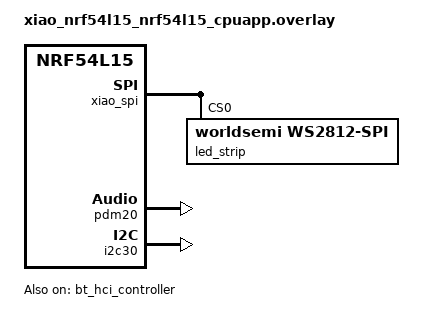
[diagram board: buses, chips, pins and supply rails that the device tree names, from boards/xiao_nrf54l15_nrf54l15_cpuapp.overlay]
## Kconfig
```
# Copyright (c) 2019 Nordic Semiconductor ASA
# SPDX-License-Identifier: Apache-2.0

menu "LED Matrix Configuration"

config MATRIX_WIDTH
	int "Matrix width (number of columns)"
	default 8
	help
	  Width of the LED matrix in pixels.

config MATRIX_HEIGHT
	int "Matrix height (number of rows)"
	default 6
	help
	  Height of the LED matrix in pixels.

config SAMPLE_LED_UPDATE_DELAY
	int "Delay between frame updates in ms"
	default 50
	help
	  Delay between frame updates in ms.

config SAMPLE_LED_BRIGHTNESS
	int "LED brightness"
	default 105
	range 1 105
	help
	  Brightness level of each LED. Maximum 105 is safe for 5 matrices
	  at 1.5A power budget (1435mA total). Higher values may exceed USB
	  power limits.

endmenu

source "Kconfig.zephyr"
```

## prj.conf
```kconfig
CONFIG_LOG=y
CONFIG_LED_STRIP=y
CONFIG_LED_STRIP_LOG_LEVEL_DBG=y

# Enable UART console
CONFIG_CONSOLE=y
CONFIG_UART_CONSOLE=y
CONFIG_PRINTK=y

# Enable I2C for IMU
CONFIG_I2C=y
CONFIG_GPIO=y

# Enable random number generator for animations
CONFIG_ENTROPY_GENERATOR=y

# Enable float printf
CONFIG_NEWLIB_LIBC=y
CONFIG_NEWLIB_LIBC_FLOAT_PRINTF=y

# Enable FPU for floating point math operations
CONFIG_FPU=y
CONFIG_FPU_SHARING=y

# Audio/DMIC support for visualizer
CONFIG_AUDIO=y
CONFIG_AUDIO_DMIC=y

# DSP/FFT support for audio processing
CONFIG_CMSIS_DSP=y
CONFIG_CMSIS_DSP_TRANSFORM=y

# Increase resources for audio processing (match xiao_expanded)
CONFIG_MAIN_STACK_SIZE=8192
CONFIG_HEAP_MEM_POOL_SIZE=32768
```

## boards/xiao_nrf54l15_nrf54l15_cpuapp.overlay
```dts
/*
 * Copyright (c) 2024 Nordic Semiconductor ASA
 *
 * SPDX-License-Identifier: Apache-2.0
 */

#include <zephyr/dt-bindings/led/led.h>
#include "../nrf54l15-bindings.h"

&xiao_spi {
	compatible = "nordic,nrf-spim";
	led_strip: ws2812@0 {
		compatible = "worldsemi,ws2812-spi";
		/* WS2812 LED strip configuration for 8x6 matrix (48 LEDs) */
		reg = <0>;                  /* P2.08 (D6/TX on XIAO nRF54L15) */
		spi-max-frequency = <SPI_FREQ>;

		/* 8x6 = 48 LEDs per matrix, 5 matrices = 240 LEDs total in raster format */
		chain-length = <240>;
		color-mapping = <LED_COLOR_ID_GREEN
				 LED_COLOR_ID_RED
				 LED_COLOR_ID_BLUE>;
		spi-one-frame = <ONE_FRAME>;
		spi-zero-frame = <ZERO_FRAME>;
	};
};

/ {
	aliases { 
		led-strip = &led_strip;
	};

	chosen {
		zephyr,bt-hci = &bt_hci_controller;
		zephyr,console = &uart20;
		nordic,rpc-uart = &uart20;
	};
};

&pdm20 {
	status = "okay";
};

dmic_dev: &pdm20 {};

&i2c30 {
	status = "okay";
	// IMU is already defined in board DTS, just enable the bus
};

&uart21 {
	status = "disabled";
};

&bt_hci_controller {
	status = "okay";
};
```

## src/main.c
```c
/*
 * Copyright (c) 2017 Linaro Limited
 * Copyright (c) 2018 Intel Corporation
 * Copyright (c) 2024 TOKITA Hiroshi
 * Copyright (c) 2025 LED Matrix Adaptation
 *
 * SPDX-License-Identifier: Apache-2.0
 */

#include <errno.h>
#include <string.h>
#include <math.h>
#include <stdio.h>

#define LOG_LEVEL 4
#include <zephyr/logging/log.h>
LOG_MODULE_REGISTER(main, LOG_LEVEL_INF);

#include <zephyr/kernel.h>
#include <zephyr/drivers/led_strip.h>
#include <zephyr/device.h>
#include <zephyr/drivers/spi.h>
#include <zephyr/drivers/gpio.h>
#include <zephyr/drivers/i2c.h>
#include <zephyr/sys/util.h>
#include <hal/nrf_comp.h>

#include "font_5x5.h"
#include "water_physics.h"
#include "audio_viz.h"
#include "animations.h"


#define STRIP_NODE		DT_ALIAS(led_strip)

#if DT_NODE_HAS_PROP(DT_ALIAS(led_strip), chain_length)
#define STRIP_NUM_PIXELS	DT_PROP(DT_ALIAS(led_strip), chain_length)
#else
#error Unable to determine length of LED strip
#endif

// Matrix dimensions from Kconfig
#define MATRIX_WIDTH	40  // 5 matrices × 8 pixels wide
#define MATRIX_HEIGHT	6
#define MATRIX_SIZE	(MATRIX_WIDTH * MATRIX_HEIGHT)

#if STRIP_NUM_PIXELS != MATRIX_SIZE
#error "LED strip chain length must match matrix size (WIDTH * HEIGHT)"
#endif

#define DELAY_TIME K_MSEC(CONFIG_SAMPLE_LED_UPDATE_DELAY)

#define RGB(_r, _g, _b) { .r = (_r), .g = (_g), .b = (_b) }

// LSM6DSO I2C definitions
#define LSM6DSO_I2C_ADDR    0x6A
#define LSM6DSO_REG_WHO_AM_I 0x0F
#define LSM6DSO_WHO_AM_I_VAL 0x6A
#define LSM6DSO_REG_CTRL1_XL 0x10
#define LSM6DSO_REG_CTRL2_G  0x11
#define LSM6DSO_REG_OUTX_L_XL 0x28

static struct led_rgb pixels[STRIP_NUM_PIXELS];
static const struct device *const strip = DEVICE_DT_GET(STRIP_NODE);
static const struct device *i2c_dev;

// Tilt state for liquid simulation
static float tilt_x = 0.0f;  // Roll (left/right)
static float tilt_y = 0.0f;  // Pitch (forward/backward)
static bool imu_available = false;

// Animation mode state
static bool animation_mode = false;  // false = water sim, true = audio/IMU animations
static uint32_t last_frame_time = 0;

// Button state for animation control
static bool button_pressed = false;

// Button device for animation control
static const struct gpio_dt_spec button = GPIO_DT_SPEC_GET(DT_ALIAS(sw0), gpios);

/**
 * @brief Convert x,y matrix coordinates to linear pixel index
 * Each of 5 matrices is 8×6 pixels (48 LEDs) in its own raster format
 * Matrices are chained: Matrix 0 (pixels 0-47), Matrix 1 (48-95), etc.
 * @param x Column (0 to MATRIX_WIDTH-1, spans 5 matrices of 8 pixels each)
 * @param y Row (0 to MATRIX_HEIGHT-1, same for all matrices)
 * @return Linear index for the chained LED strip
 */
static inline size_t xy_to_index(int x, int y)
{
	if (x < 0 || x >= MATRIX_WIDTH || y < 0 || y >= MATRIX_HEIGHT) {
		return MATRIX_SIZE; // Out of bounds
	}
	
	// Determine which 8×6 matrix this pixel belongs to
	int matrix_num = x / 8;      // Which matrix (0-4)
	int local_x = x % 8;         // X position within that matrix (0-7)
	int local_y = y;             // Y position (0-5, same for all matrices)
	
	// Each matrix has 48 LEDs in raster format (row 0: 0-7, row 1: 8-15, etc.)
	int matrix_offset = matrix_num * 48;
	int pixel_in_matrix = local_y * 8 + local_x;
	
	return matrix_offset + pixel_in_matrix;
}

/**
 * @brief Set a single pixel in the matrix
 * @param x Column position
 * @param y Row position
 * @param color RGB color value
 */
static void set_pixel(int x, int y, struct led_rgb color)
{
	size_t idx = xy_to_index(x, y);
	if (idx < MATRIX_SIZE) {
		memcpy(&pixels[idx], &color, sizeof(struct led_rgb));
	}
}

/**
 * @brief Clear all pixels (set to black)
 */
static void clear_matrix(void)
{
	memset(pixels, 0, sizeof(pixels));
}

/**
 * @brief Fill entire matrix with one color
 */
static void fill_matrix(struct led_rgb color)
{
	for (size_t i = 0; i < MATRIX_SIZE; i++) {
		memcpy(&pixels[i], &color, sizeof(struct led_rgb));
	}
}

/**
 * @brief Draw a horizontal line
 */
static void draw_hline(int x, int y, int width, struct led_rgb color)
{
	for (int i = 0; i < width; i++) {
		set_pixel(x + i, y, color);
	}
}

/**
 * @brief Draw a vertical line
 */
static void draw_vline(int x, int y, int height, struct led_rgb color)
{
	for (int i = 0; i < height; i++) {
		set_pixel(x, y + i, color);
	}
}

/**
 * @brief Draw a rectangle outline
 */
__attribute__((unused))
static void draw_rect(int x, int y, int w, int h, struct led_rgb color)
{
	draw_hline(x, y, w, color);
	draw_hline(x, y + h - 1, w, color);
	draw_vline(x, y, h, color);
	draw_vline(x + w - 1, y, h, color);
}

/**
 * @brief Fill a rectangle
 */
__attribute__((unused))
static void fill_rect(int x, int y, int w, int h, struct led_rgb color)
{
	for (int row = 0; row < h; row++) {
		draw_hline(x, y + row, w, color);
	}
}

/**
 * @brief Update the physical LED strip from the pixel buffer
 */
static int update_display(void)
{
	return led_strip_update_rgb(strip, pixels, STRIP_NUM_PIXELS);
}

/**
 * @brief Initialize LSM6DSO via I2C
 */
static int lsm6dso_init(void)
{
	uint8_t who_am_i = 0;
	int ret;

	// Verify device ID
	ret = i2c_reg_read_byte(i2c_dev, LSM6DSO_I2C_ADDR, LSM6DSO_REG_WHO_AM_I, &who_am_i);
	if (ret != 0) {
		LOG_ERR("Failed to read WHO_AM_I (err: %d)", ret);
		return ret;
	}
	if (who_am_i != LSM6DSO_WHO_AM_I_VAL) {
		LOG_ERR("Invalid WHO_AM_I: 0x%02x", who_am_i);
		return -ENODEV;
	}
	LOG_INF("LSM6DSO found, ID: 0x%02x", who_am_i);

	// Set accelerometer ODR (12.5 Hz) and 2g range
	uint8_t tx_buf[2] = {LSM6DSO_REG_CTRL1_XL, 0x20};
	ret = i2c_write(i2c_dev, tx_buf, 2, LSM6DSO_I2C_ADDR);
	if (ret != 0) {
		LOG_ERR("Failed to set CTRL1_XL (err: %d)", ret);
		return ret;
	}

	// Set gyroscope ODR (12.5 Hz) and 250dps range
	tx_buf[0] = LSM6DSO_REG_CTRL2_G;
	tx_buf[1] = 0x20;
	ret = i2c_write(i2c_dev, tx_buf, 2, LSM6DSO_I2C_ADDR);
	if (ret != 0) {
		LOG_ERR("Failed to set CTRL2_G (err: %d)", ret);
		return ret;
	}

	LOG_INF("LSM6DSO initialized");
	return 0;
}

/**
 * @brief Read IMU and calculate tilt angles
 */
static int read_imu(void)
{
	uint8_t accel_data[6];
	int ret;

	if (!imu_available) {
		return -ENODEV;
	}

	// Read accelerometer data (6 bytes)
	ret = i2c_burst_read(i2c_dev, LSM6DSO_I2C_ADDR, LSM6DSO_REG_OUTX_L_XL, accel_data, 6);
	if (ret != 0) {
		return ret;
	}

	// Convert raw data to signed integers (low byte first)
	int16_t raw_x = (int16_t)(accel_data[0] | (accel_data[1] << 8));
	int16_t raw_y = (int16_t)(accel_data[2] | (accel_data[3] << 8));
	int16_t raw_z = (int16_t)(accel_data[4] | (accel_data[5] << 8));

	// Convert to g (assuming ±2g range, sensitivity ~0.061 mg/LSB)
	float acc_x = raw_x * 0.000061f * 9.81f; // Convert to m/s²
	float acc_y = raw_y * 0.000061f * 9.81f;
	float acc_z = raw_z * 0.000061f * 9.81f;

	// Calculate tilt angles (in degrees)
	tilt_x = atan2f(acc_x, acc_z) * 180.0f / 3.14159f;
	tilt_y = atan2f(acc_y, acc_z) * 180.0f / 3.14159f;

	return 0;
}

/**
 * @brief Initialize button for animation control
 */
static int init_button(void)
{
	if (!gpio_is_ready_dt(&button)) {
		LOG_ERR("Button device not ready");
		return -ENODEV;
	}

	int ret = gpio_pin_configure_dt(&button, GPIO_INPUT);
	if (ret != 0) {
		LOG_ERR("Failed to configure button: %d", ret);
		return ret;
	}

	LOG_INF("Button initialized for animation control");
	return 0;
}

/**
 * @brief Check button state and handle animation cycling
 */
static void check_button(void)
{
	bool current_state = gpio_pin_get_dt(&button);
	
	// Button pressed (active low)
	if (!current_state && !button_pressed) {
		button_pressed = true;
		
		// Cycle to next animation
		if (animation_mode) {
			animations_next_mode();
			LOG_INF("Animation: %s", 
				animations_get_mode_name(animations_get_mode()));
		}
	} else if (current_state) {
		button_pressed = false;
	}
}

/**
 * @brief Draw a character at position using 5x5 font
 */
static void draw_char(int x, int y, char c, struct led_rgb color)
{
	// Convert lowercase to uppercase
	if (c >= 'a' && c <= 'z') {
		c = c - 'a' + 'A';
	}
	
	// Check if character is in our font range (space to 'Z')
	if (c < ' ' || c > 'Z') {
		c = ' '; // Default to space for unsupported chars
	}
	
	const uint8_t *glyph = font_5x5[c - ' '];
	
	for (int row = 0; row < 5; row++) {
		for (int col = 0; col < 5; col++) {
			if (glyph[row] & (1 << (4 - col))) {
				set_pixel(x + col, y + row, color);
			}
		}
	}
}

/**
 * @brief Draw a string with 6x5 character cells (5px char + 1px space)
 */
static void draw_string(int x, int y, const char *str, struct led_rgb color)
{
	int cursor_x = x;
	while (*str) {
		draw_char(cursor_x, y, *str, color);
		cursor_x += 6; // 5 pixels for char + 1 pixel spacing
		str++;
	}
}

/**
 * @brief Get pixel width of a string
 */
__attribute__((unused))
static int string_width(const char *str)
{
	int len = 0;
	while (*str++) len++;
	if (len == 0) return 0;
	return len * 6 - 1; // 6 pixels per char, minus last space
}

/**
 * @brief Demo: Scrolling text
 */
__attribute__((unused))
static void demo_scrolling_text(int offset, const char *text, struct led_rgb color)
{
	clear_matrix();
	int x = MATRIX_WIDTH - offset;
	
	// Draw text centered vertically
	draw_string(x, 1, text, color);
}

/**
 * @brief Render liquid on LED matrix using water_physics module
 */
static void render_liquid(struct led_rgb color)
{
	clear_matrix();
	
	for (int y = 0; y < MATRIX_HEIGHT; y++) {
		for (int x = 0; x < MATRIX_WIDTH; x++) {
			if (water_physics_get_cell(x, y) == 1) {
				set_pixel(x, y, color);
			}
		}
	}
}

int main(void)
{
	int rc;

	if (device_is_ready(strip)) {
		LOG_INF("Found LED strip device %s", strip->name);
	} else {
		LOG_ERR("LED strip device %s is not ready", strip->name);
		return 0;
	}

	// Initialize I2C and IMU
	i2c_dev = DEVICE_DT_GET(DT_NODELABEL(i2c30));
	if (device_is_ready(i2c_dev)) {
		LOG_INF("I2C device ready");
		if (lsm6dso_init() == 0) {
			imu_available = true;
			printf("IMU initialized successfully\n");
		} else {
			LOG_WRN("IMU initialization failed, continuing without IMU");
			printf("IMU not available\n");
		}
	} else {
		LOG_WRN("I2C device not ready");
	}

	// Initialize button for controls
	if (init_button() != 0) {
		LOG_WRN("Button initialization failed, continuing without button");
	}

	// Initialize audio visualizer
	if (audio_viz_init() == 0) {
		LOG_INF("Audio visualizer initialized");
	} else {
		LOG_WRN("Audio visualizer not available");
	}

	// Initialize animations
	animations_init(MATRIX_WIDTH, MATRIX_HEIGHT);
	LOG_INF("Animations initialized");

	LOG_INF("LED Matrix: %dx%d (%d pixels) in raster format", 
		MATRIX_WIDTH, MATRIX_HEIGHT, MATRIX_SIZE);
	LOG_INF("Max power at brightness 105: ~1435 mA (safe for 5 matrices @ 1.5A)");
	LOG_INF("Current brightness: %d", CONFIG_SAMPLE_LED_BRIGHTNESS);
	
	// Flash all LEDs briefly to confirm connection
	fill_matrix((struct led_rgb)RGB(CONFIG_SAMPLE_LED_BRIGHTNESS, 0, 0));
	update_display();
	k_msleep(200);
	
	fill_matrix((struct led_rgb)RGB(0, CONFIG_SAMPLE_LED_BRIGHTNESS, 0));
	update_display();
	k_msleep(200);
	
	fill_matrix((struct led_rgb)RGB(0, 0, CONFIG_SAMPLE_LED_BRIGHTNESS));
	update_display();
	k_msleep(200);
	
	clear_matrix();
	update_display();
	k_msleep(500);

	// Initialize water physics simulation with "HELLO" text
	if (water_physics_init_text(MATRIX_WIDTH, MATRIX_HEIGHT, "HELLO") != 0) {
		LOG_ERR("Failed to initialize water physics");
		return 0;
	}
	LOG_INF("Water physics initialized with HELLO text");
	
	// Cyan/blue water color (much dimmer)
	struct led_rgb water_color = {.r = 0, .g = 20, .b = 40};
	
	// Start in animation mode
	animation_mode = true;
	if (audio_viz_start() == 0) {
		LOG_INF("Audio capture started");
	}
	last_frame_time = k_uptime_get_32();
	
	LOG_INF("==============================================");
	LOG_INF("Button Controls:");
	LOG_INF("  SW0 (User Button) - Cycle through animations");
	LOG_INF("==============================================");
	
	int frame_counter = 0;
	bool first_frame = true;
	
	while (1) {
		uint32_t current_time = k_uptime_get_32();
		uint32_t delta_time = current_time - last_frame_time;
		last_frame_time = current_time;
		
		// Read IMU every frame
		if (imu_available) {
			read_imu();
		}

		// Check button for animation cycling
		check_button();
		
		if (animation_mode) {
			// Animation mode - process audio and render animations
			audio_viz_process();
			animations_update(pixels, tilt_x, tilt_y, delta_time);
		} else {
			// Water simulation mode
			if (first_frame) {
				render_liquid(water_color);
				update_display();
				first_frame = false;
			}
			
			water_physics_set_tilt(tilt_x, tilt_y);
			water_physics_update();
			render_liquid(water_color);
		}
		
		rc = update_display();
		if (rc) {
			LOG_ERR("Couldn't update display: %d", rc);
		}
		
		frame_counter++;
		// No sleep - run as fast as possible, delta_time handles frame rate
	}

	return 0;
}
```

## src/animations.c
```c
/*
 * LED Matrix Animations - Audio and IMU reactive effects
 */

#include "animations.h"
#include "audio_viz.h"
#include <string.h>
#include <math.h>
#include <zephyr/kernel.h>
#include <zephyr/random/random.h>

// Current state
static animation_mode_t current_mode = ANIM_TEST_MODE;
static int matrix_width = 40;
static int matrix_height = 6;
static bool animations_ready = false;

// Particle system (for gravity and rain effects)
#define MAX_PARTICLES 40
typedef struct {
    float x, y;
    float vx, vy;
    uint8_t life;
    struct led_rgb color;
} particle_t;
static particle_t particles[MAX_PARTICLES];

// Ripple system (for bass ripples)
#define MAX_RIPPLES 4
typedef struct {
    float x, y;
    float radius;
    uint8_t intensity;
    bool active;
} ripple_t;
static ripple_t ripples[MAX_RIPPLES];

// Peak hold for VU meter (now 40 columns instead of 8)
static uint8_t peak_hold[40];
static uint32_t peak_hold_time[40];

// Waveform history
#define WAVEFORM_HISTORY 40
static uint8_t waveform_buffer[WAVEFORM_HISTORY];
static uint8_t waveform_idx = 0;

// Shake detection
static float prev_tilt_x = 0, prev_tilt_y = 0;
static bool shake_active = false;
static uint32_t shake_time = 0;

// Helper: Convert x,y to linear index (same as main.c)
static inline size_t xy_to_index(int x, int y) {
    if (x < 0 || x >= matrix_width || y < 0 || y >= matrix_height) {
        return matrix_width * matrix_height;
    }
    int matrix_num = x / 8;
    int local_x = x % 8;
    int local_y = y;
    int matrix_offset = matrix_num * 48;
    int pixel_in_matrix = local_y * 8 + local_x;
    return matrix_offset + pixel_in_matrix;
}

// Helper: Set pixel with bounds checking
static void set_pixel(struct led_rgb *pixels, int x, int y, struct led_rgb color) {
    size_t idx = xy_to_index(x, y);
    if (idx < (size_t)(matrix_width * matrix_height)) {
        pixels[idx] = color;
    }
}

// Helper: Clear all pixels
static void clear_pixels(struct led_rgb *pixels) {
    memset(pixels, 0, matrix_width * matrix_height * sizeof(struct led_rgb));
}

// ============================================================================
// TEST MODE: Show column numbers and IMU tilt directions
// ============================================================================
static void anim_test_mode(struct led_rgb *pixels, float tilt_x, float tilt_y) {
    clear_pixels(pixels);
    
    // Show column indicators every 5 columns (columns 0, 5, 10, 15, 20, 25, 30, 35)
    for (int x = 0; x < matrix_width; x += 5) {
        // Make column marker bright white (full 6 pixels tall)
        for (int y = 0; y < matrix_height; y++) {
            set_pixel(pixels, x, y, (struct led_rgb){60, 60, 60});
        }
    }
    
    // Column 0 is RED (far left)
    for (int y = 0; y < matrix_height; y++) {
        set_pixel(pixels, 0, y, (struct led_rgb){60, 0, 0});
    }
    
    // Column 39 is BLUE (far right)
    for (int y = 0; y < matrix_height; y++) {
        set_pixel(pixels, matrix_width - 1, y, (struct led_rgb){0, 0, 60});
    }
    
    // Center column (20) is GREEN
    for (int y = 0; y < matrix_height; y++) {
        set_pixel(pixels, matrix_width / 2, y, (struct led_rgb){0, 60, 0});
    }
    
    // IMU tilt_x indicator: positive tilt = cyan dot moves RIGHT
    // Map tilt_x range (-45 to +45) to x position (5 to 35)
    float tilt_x_clamped = tilt_x;
    if (tilt_x_clamped < -45.0f) tilt_x_clamped = -45.0f;
    if (tilt_x_clamped > 45.0f) tilt_x_clamped = 45.0f;
    int x_pos = (int)((tilt_x_clamped + 45.0f) * 30.0f / 90.0f) + 5;
    if (x_pos >= 0 && x_pos < matrix_width) {
        set_pixel(pixels, x_pos, 2, (struct led_rgb){0, 60, 60});  // Cyan dot at row 2
    }
    
    // IMU tilt_y indicator: positive tilt = magenta dot moves UP (toward row 0)
    // Map tilt_y range (-45 to +45) to y position (5 to 0)
    float tilt_y_clamped = tilt_y;
    if (tilt_y_clamped < -45.0f) tilt_y_clamped = -45.0f;
    if (tilt_y_clamped > 45.0f) tilt_y_clamped = 45.0f;
    int y_pos = (int)((45.0f - tilt_y_clamped) * 5.0f / 90.0f);
    if (y_pos >= 0 && y_pos < matrix_height) {
        set_pixel(pixels, matrix_width / 2, y_pos, (struct led_rgb){60, 0, 60});  // Magenta at center column
    }
}

// Helper: HSV to RGB conversion with brightness capping
static struct led_rgb hsv_to_rgb(uint8_t h, uint8_t s, uint8_t v) {
    struct led_rgb rgb = {0, 0, 0};
    
    // Cap brightness to 60/255 max (half of previous 120)
    if (v > 60) v = 60;
    
    if (s == 0) {
        rgb.r = rgb.g = rgb.b = v;
        return rgb;
    }
    
    uint8_t region = h / 43;
    uint8_t remainder = (h - (region * 43)) * 6;
    
    uint8_t p = (v * (255 - s)) >> 8;
    uint8_t q = (v * (255 - ((s * remainder) >> 8))) >> 8;
    uint8_t t = (v * (255 - ((s * (255 - remainder)) >> 8))) >> 8;
    
    switch (region) {
        case 0: rgb.r = v; rgb.g = t; rgb.b = p; break;
        case 1: rgb.r = q; rgb.g = v; rgb.b = p; break;
        case 2: rgb.r = p; rgb.g = v; rgb.b = t; break;
        case 3: rgb.r = p; rgb.g = q; rgb.b = v; break;
        case 4: rgb.r = t; rgb.g = p; rgb.b = v; break;
        default: rgb.r = v; rgb.g = p; rgb.b = q; break;
    }
    
    return rgb;
}

// ============================================================================
// ANIMATION: Spectrum Bars
// ============================================================================
static void anim_spectrum_bars(struct led_rgb *pixels) {
    clear_pixels(pixels);
    
    // Draw 40 frequency bars, one per column (1:1 mapping)
    for (int x = 0; x < matrix_width; x++) {
        uint8_t energy = audio_viz_get_band(x);  // Each column = its own band
        
        // Calculate height: 0-254 maps to 0-5 pixels, 255 maps to full 6 pixels
        int height;
        if (energy == 255) {
            height = matrix_height;
        } else {
            height = (energy * matrix_height) / 255;
        }
        
        // Color gradient across all columns
        uint8_t hue = (x * 255) / matrix_width;
        struct led_rgb color = hsv_to_rgb(hue, 255, 40);  // Max 40 brightness
        
        // Draw bar from bottom up
        for (int y = 0; y < height && y < matrix_height; y++) {
            set_pixel(pixels, x, matrix_height - 1 - y, color);
        }
    }
}

// ============================================================================
// ANIMATION: VU Meter (40 columns with rainbow gradient and peak hold)
// ============================================================================
static void anim_vu_meter(struct led_rgb *pixels, uint32_t delta_time) {
    clear_pixels(pixels);
    
    // Draw 40 VU meters vertically, one per column with peak hold
    for (int x = 0; x < matrix_width; x++) {
        uint8_t energy = audio_viz_get_band(x);
        int height = (energy * matrix_height) / 255;
        
        // Update peak hold
        if (energy > peak_hold[x]) {
            peak_hold[x] = energy;
            peak_hold_time[x] = 0;
        } else {
            peak_hold_time[x] += delta_time;
            if (peak_hold_time[x] > 100) {  // Decay every 100ms
                peak_hold_time[x] = 0;
                if (peak_hold[x] > 5) {
                    peak_hold[x] -= 5;  // Drop by 5 units for faster decay
                } else {
                    peak_hold[x] = 0;
                }
            }
        }
        
        int peak_y = matrix_height - ((peak_hold[x] * matrix_height) / 255);
        
        // Rainbow color gradient across columns (same as spectrum bars)
        uint8_t hue = (x * 255) / matrix_width;
        struct led_rgb color = hsv_to_rgb(hue, 255, 40);  // Max 40 brightness
        
        // Draw bar from bottom up
        for (int y = matrix_height - height; y < matrix_height; y++) {
            set_pixel(pixels, x, y, color);
        }
        
        // Peak indicator (white dot)
        if (peak_y >= 0 && peak_y < matrix_height) {
            set_pixel(pixels, x, peak_y, (struct led_rgb){60, 60, 60});  // White peak dot
        }
    }
}

// ============================================================================
// ANIMATION: Pulse (bass-driven expanding circle)
// ============================================================================
static void anim_pulse(struct led_rgb *pixels) {
    clear_pixels(pixels);
    
    uint8_t bass = audio_viz_get_bass();
    
    // Aggressive remapping based on observed data: talking ~140-190, music ~200-253
    // Use 190 as floor, map 190-240 to 0-255 for better dynamic range
    int remapped_bass = 0;
    if (bass > 190) {
        remapped_bass = ((bass - 190) * 255) / 50;  // Map 190-240 to 0-255
        if (remapped_bass > 255) remapped_bass = 255;
    }
    
    float radius = (remapped_bass * 20.0f) / 255.0f;
    
    int cx = matrix_width / 2;
    int cy = matrix_height / 2;
    
    // Draw expanding circle
    for (int y = 0; y < matrix_height; y++) {
        for (int x = 0; x < matrix_width; x++) {
            float dx = x - cx;
            float dy = y - cy;
            float dist = sqrtf(dx * dx + dy * dy);
            
            if (dist < radius && dist > radius - 2.0f) {
                uint8_t brightness = remapped_bass;
                struct led_rgb color = hsv_to_rgb(160, 255, brightness); // Cyan
                set_pixel(pixels, x, y, color);
            }
        }
    }
    
    // Add center point for beat
    if (audio_viz_beat_detected()) {
        for (int y = cy - 1; y <= cy + 1; y++) {
            for (int x = cx - 1; x <= cx + 1; x++) {
                set_pixel(pixels, x, y, (struct led_rgb){200, 200, 200});
            }
        }
    }
}

// ============================================================================
// ANIMATION: Waveform
// ============================================================================
static void anim_waveform(struct led_rgb *pixels) {
    clear_pixels(pixels);
    
    // Add new volume sample to buffer
    waveform_buffer[waveform_idx] = audio_viz_get_volume();
    waveform_idx = (waveform_idx + 1) % WAVEFORM_HISTORY;
    
    // Draw waveform scrolling left
    for (int x = 0; x < matrix_width && x < WAVEFORM_HISTORY; x++) {
        int buf_idx = (waveform_idx + x) % WAVEFORM_HISTORY;
        uint8_t val = waveform_buffer[buf_idx];
        int y = (val * matrix_height) / 255;
        
        // Draw point with gradient
        uint8_t hue = (x * 255) / matrix_width;
        struct led_rgb color = hsv_to_rgb(hue, 255, 80);
        
        if (y < matrix_height) {
            set_pixel(pixels, matrix_width - 1 - x, matrix_height - 1 - y, color);
        }
    }
}

// ============================================================================
// ANIMATION: Gravity Particles
// ============================================================================
static void anim_gravity_particles(struct led_rgb *pixels, float tilt_x, float tilt_y, uint32_t delta_time) {
    clear_pixels(pixels);
    
    float dt = delta_time / 1000.0f;
    
    // Spawn new particles occasionally
    static uint32_t spawn_timer = 0;
    spawn_timer += delta_time;
    if (spawn_timer > 100) {
        spawn_timer = 0;
        
        // Find inactive particle
        for (int i = 0; i < MAX_PARTICLES; i++) {
            if (particles[i].life == 0) {
                particles[i].x = sys_rand32_get() % matrix_width;
                particles[i].y = 0;
                particles[i].vx = 0;
                particles[i].vy = 0;
                particles[i].life = 255;
                uint8_t hue = sys_rand32_get() % 255;
                particles[i].color = hsv_to_rgb(hue, 255, 40);  // Max 40 brightness
                break;
            }
        }
    }
    
    // Update and draw particles
    float gravity_x = tilt_x * 0.3f;
    float gravity_y = tilt_y * 0.3f;
    
    for (int i = 0; i < MAX_PARTICLES; i++) {
        if (particles[i].life == 0) continue;
        
        // Apply gravity based on tilt
        particles[i].vx += gravity_x * dt * 10.0f;
        particles[i].vy += gravity_y * dt * 10.0f;
        
        // Update position
        particles[i].x += particles[i].vx * dt;
        particles[i].y += particles[i].vy * dt;
        
        // Bounce off edges
        if (particles[i].x < 0) {
            particles[i].x = 0;
            particles[i].vx = -particles[i].vx * 0.7f;
        }
        if (particles[i].x >= matrix_width) {
            particles[i].x = matrix_width - 1;
            particles[i].vx = -particles[i].vx * 0.7f;
        }
        if (particles[i].y < 0) {
            particles[i].y = 0;
            particles[i].vy = -particles[i].vy * 0.7f;
        }
        if (particles[i].y >= matrix_height) {
            particles[i].y = matrix_height - 1;
            particles[i].vy = -particles[i].vy * 0.7f;
        }
        
        // Friction
        particles[i].vx *= 0.98f;
        particles[i].vy *= 0.98f;
        
        // Draw particle
        int px = (int)particles[i].x;
        int py = (int)particles[i].y;
        set_pixel(pixels, px, py, particles[i].color);
    }
}

// ============================================================================
// ANIMATION: Tilt Gradient
// ============================================================================
static void anim_tilt_gradient(struct led_rgb *pixels, float tilt_x, float tilt_y) {
    clear_pixels(pixels);
    
    // Create color gradient based on tilt direction
    float angle = atan2f(tilt_y, tilt_x);
    uint8_t base_hue = (uint8_t)((angle + 3.14159f) * 127.65f / 3.14159f);
    
    for (int y = 0; y < matrix_height; y++) {
        for (int x = 0; x < matrix_width; x++) {
            // Distance from center
            float dx = (x - matrix_width / 2.0f) / matrix_width * 2.0f;
            float dy = (y - matrix_height / 2.0f) / matrix_height * 2.0f;
            
            // Angle to this pixel
            float pixel_angle = atan2f(dy, dx);
            float angle_diff = fabsf(pixel_angle - angle);
            if (angle_diff > 3.14159f) angle_diff = 6.28318f - angle_diff;
            
            uint8_t brightness = (uint8_t)(255 - (angle_diff * 80.0f));
            uint8_t hue = base_hue + (uint8_t)(angle_diff * 30.0f);
            
            struct led_rgb color = hsv_to_rgb(hue, 255, brightness / 3);
            set_pixel(pixels, x, y, color);
        }
    }
}

// ============================================================================
// ANIMATION: Shake Burst
// ============================================================================
static void anim_shake_burst(struct led_rgb *pixels, float tilt_x, float tilt_y, uint32_t delta_time) {
    // Detect shake (rapid tilt change)
    float delta_tilt = fabsf(tilt_x - prev_tilt_x) + fabsf(tilt_y - prev_tilt_y);
    prev_tilt_x = tilt_x;
    prev_tilt_y = tilt_y;
    
    if (delta_tilt > 30.0f) {
        shake_active = true;
        shake_time = 0;
        
        // Spawn particles in all directions
        for (int i = 0; i < MAX_PARTICLES; i++) {
            particles[i].x = matrix_width / 2.0f;
            particles[i].y = matrix_height / 2.0f;
            float angle = (i * 6.28318f) / MAX_PARTICLES;
            float speed = 5.0f + (sys_rand32_get() % 50) / 10.0f;
            particles[i].vx = cosf(angle) * speed;
            particles[i].vy = sinf(angle) * speed;
            particles[i].life = 255;
            uint8_t hue = (i * 255) / MAX_PARTICLES;
            particles[i].color = hsv_to_rgb(hue, 255, 50);  // Max 50 brightness
        }
    }
    
    if (shake_active) {
        shake_time += delta_time;
        if (shake_time > 2000) {
            shake_active = false;
        }
    }
    
    clear_pixels(pixels);
    
    if (shake_active) {
        float dt = delta_time / 1000.0f;
        
        // Update particles
        for (int i = 0; i < MAX_PARTICLES; i++) {
            particles[i].x += particles[i].vx * dt;
            particles[i].y += particles[i].vy * dt;
            
            // Fade out
            if (particles[i].life > 5) {
                particles[i].life -= 5;
            }
            
            int px = (int)particles[i].x;
            int py = (int)particles[i].y;
            
            if (px >= 0 && px < matrix_width && py >= 0 && py < matrix_height) {
                struct led_rgb color = particles[i].color;
                color.r = (color.r * particles[i].life) / 255;
                color.g = (color.g * particles[i].life) / 255;
                color.b = (color.b * particles[i].life) / 255;
                set_pixel(pixels, px, py, color);
            }
        }
    }
}

// ============================================================================
// ANIMATION: Audio Rain
// ============================================================================
static void anim_audio_rain(struct led_rgb *pixels, uint32_t delta_time) {
    // Fade existing pixels
    for (int i = 0; i < matrix_width * matrix_height; i++) {
        if (pixels[i].r > 10) pixels[i].r -= 10;
        else pixels[i].r = 0;
        if (pixels[i].g > 10) pixels[i].g -= 10;
        else pixels[i].g = 0;
        if (pixels[i].b > 10) pixels[i].b -= 10;
        else pixels[i].b = 0;
    }
    
    // Spawn new rain drops based on audio
    uint8_t volume = audio_viz_get_volume();
    if (volume > 50 && (sys_rand32_get() % 3) == 0) {
        int x = sys_rand32_get() % matrix_width;
        uint8_t hue = (x * 255) / matrix_width;
        uint8_t brightness = (volume > 60) ? 60 : volume;  // Cap to 60
        struct led_rgb color = hsv_to_rgb(hue, 255, brightness);
        set_pixel(pixels, x, 0, color);
    }
}

// ============================================================================
// ANIMATION: Bass Ripple
// ============================================================================
static void anim_bass_ripple(struct led_rgb *pixels, uint32_t delta_time) {
    clear_pixels(pixels);
    
    float dt = delta_time / 1000.0f;
    
    // Spawn new ripple on beat
    if (audio_viz_beat_detected()) {
        for (int i = 0; i < MAX_RIPPLES; i++) {
            if (!ripples[i].active) {
                ripples[i].x = matrix_width / 2.0f;
                ripples[i].y = matrix_height / 2.0f;
                ripples[i].radius = 0;
                ripples[i].intensity = 255;
                ripples[i].active = true;
                break;
            }
        }
    }
    
    // Update and draw ripples
    for (int i = 0; i < MAX_RIPPLES; i++) {
        if (!ripples[i].active) continue;
        
        ripples[i].radius += 8.0f * dt;
        if (ripples[i].intensity > 5) {
            ripples[i].intensity -= 5;
        } else {
            ripples[i].active = false;
            continue;
        }
        
        // Draw ripple
        for (int y = 0; y < matrix_height; y++) {
            for (int x = 0; x < matrix_width; x++) {
                float dx = x - ripples[i].x;
                float dy = y - ripples[i].y;
                float dist = sqrtf(dx * dx + dy * dy);
                
                if (fabsf(dist - ripples[i].radius) < 1.5f) {
                    uint8_t hue = (uint8_t)(ripples[i].radius * 10);
                    struct led_rgb color = hsv_to_rgb(hue, 255, ripples[i].intensity);
                    set_pixel(pixels, x, y, color);
                }
            }
        }
    }
}

// ============================================================================
// ANIMATION: Reactive Spiral (audio + tilt)
// ============================================================================
static void anim_reactive_spiral(struct led_rgb *pixels, float tilt_x, float tilt_y) {
    clear_pixels(pixels);
    
    static float spiral_angle = 0;
    spiral_angle += 0.1f;
    
    uint8_t bass = audio_viz_get_bass();
    float spiral_tightness = 0.3f + (bass / 255.0f) * 0.5f;
    
    // Center point affected by tilt
    float cx = (matrix_width / 2.0f) + (tilt_x / 90.0f) * 10.0f;
    float cy = (matrix_height / 2.0f) + (tilt_y / 90.0f) * 3.0f;
    
    // Draw spiral
    for (float t = 0; t < 20.0f; t += 0.2f) {
        float angle = t * spiral_tightness + spiral_angle;
        float radius = t;
        
        int x = (int)(cx + cosf(angle) * radius);
        int y = (int)(cy + sinf(angle) * radius / 1.5f);
        
        uint8_t hue = (uint8_t)(t * 12 + bass);
        struct led_rgb color = hsv_to_rgb(hue, 255, 80);
        set_pixel(pixels, x, y, color);
    }
}

// ============================================================================
// Public API
// ============================================================================

void animations_init(int width, int height) {
    matrix_width = width;
    matrix_height = height;
    
    // Initialize particle system
    memset(particles, 0, sizeof(particles));
    memset(ripples, 0, sizeof(ripples));
    memset(peak_hold, 0, sizeof(peak_hold));
    memset(peak_hold_time, 0, sizeof(peak_hold_time));
    memset(waveform_buffer, 0, sizeof(waveform_buffer));
    
    animations_ready = true;
}

void animations_update(struct led_rgb *pixels, float tilt_x, float tilt_y, uint32_t delta_time) {
    // Safety check - don't run if not initialized
    if (!animations_ready) {
        clear_pixels(pixels);
        return;
    }
    
    switch (current_mode) {
        case ANIM_TEST_MODE:
            anim_test_mode(pixels, tilt_x, tilt_y);
            break;
        case ANIM_VU_METER:
            anim_vu_meter(pixels, delta_time);
            break;
        case ANIM_SPECTRUM_BARS:
            anim_spectrum_bars(pixels);
            break;
        case ANIM_PULSE:
            anim_pulse(pixels);
            break;
        case ANIM_WAVEFORM:
            anim_waveform(pixels);
            break;
        case ANIM_GRAVITY_PARTICLES:
            anim_gravity_particles(pixels, tilt_x, tilt_y, delta_time);
            break;
        case ANIM_TILT_GRADIENT:
            anim_tilt_gradient(pixels, tilt_x, tilt_y);
            break;
        case ANIM_SHAKE_BURST:
            anim_shake_burst(pixels, tilt_x, tilt_y, delta_time);
            break;
        case ANIM_AUDIO_RAIN:
            anim_audio_rain(pixels, delta_time);
            break;
        case ANIM_BASS_RIPPLE:
            anim_bass_ripple(pixels, delta_time);
            break;
        case ANIM_REACTIVE_SPIRAL:
            anim_reactive_spiral(pixels, tilt_x, tilt_y);
            break;
        default:
            clear_pixels(pixels);
            break;
    }
}

void animations_set_mode(animation_mode_t mode) {
    if (mode < ANIM_MODE_COUNT) {
        current_mode = mode;
        
        // Reset state for new mode
        memset(particles, 0, sizeof(particles));
        memset(ripples, 0, sizeof(ripples));
        shake_active = false;
    }
}

animation_mode_t animations_get_mode(void) {
    return current_mode;
}

void animations_next_mode(void) {
    current_mode = (current_mode + 1) % ANIM_MODE_COUNT;
    animations_set_mode(current_mode);
}

const char* animations_get_mode_name(animation_mode_t mode) {
    const char* names[] = {
        "Test Mode",
        "VU Meter",
        "Spectrum Bars",
        "Pulse",
        "Waveform",
        "Gravity",
        "Tilt Gradient",
        "Shake Burst",
        "Audio Rain",
        "Bass Ripple",
        "Spiral"
    };
    
    if (mode < ANIM_MODE_COUNT) {
        return names[mode];
    }
    return "Unknown";
}
```

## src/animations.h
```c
/*
 * LED Matrix Animations - Audio and IMU reactive effects
 */

#ifndef ANIMATIONS_H
#define ANIMATIONS_H

#include <zephyr/drivers/led_strip.h>
#include <stdint.h>
#include <stdbool.h>

// Animation mode enum
typedef enum {
    ANIM_TEST_MODE,          // TEST: Column numbers and IMU direction indicators
    ANIM_VU_METER,           // VU meter with peak hold (40 columns, green to red)
    ANIM_SPECTRUM_BARS,      // Vertical frequency bars (rainbow gradient)
    ANIM_PULSE,              // Pulsing circle based on bass
    ANIM_WAVEFORM,           // Scrolling waveform
    ANIM_GRAVITY_PARTICLES,  // Particles affected by tilt
    ANIM_TILT_GRADIENT,      // Color gradient following tilt
    ANIM_SHAKE_BURST,        // Burst effect on shake
    ANIM_AUDIO_RAIN,         // Sound-reactive falling particles
    ANIM_BASS_RIPPLE,        // Expanding ripples on bass hits
    ANIM_REACTIVE_SPIRAL,    // Spiral that responds to audio+tilt
    ANIM_MODE_COUNT
} animation_mode_t;

// Matrix dimensions
#define ANIM_WIDTH  40
#define ANIM_HEIGHT 6

/**
 * @brief Initialize animations system
 * @param width Matrix width
 * @param height Matrix height
 */
void animations_init(int width, int height);

/**
 * @brief Update current animation
 * @param pixels Output pixel buffer
 * @param tilt_x Roll angle (-90 to +90 degrees)
 * @param tilt_y Pitch angle (-90 to +90 degrees)
 * @param delta_time Time since last update in ms
 */
void animations_update(struct led_rgb *pixels, float tilt_x, float tilt_y, uint32_t delta_time);

/**
 * @brief Set current animation mode
 * @param mode Animation mode to set
 */
void animations_set_mode(animation_mode_t mode);

/**
 * @brief Get current animation mode
 * @return Current animation mode
 */
animation_mode_t animations_get_mode(void);

/**
 * @brief Cycle to next animation mode
 */
void animations_next_mode(void);

/**
 * @brief Get name of animation mode
 * @param mode Animation mode
 * @return Name string
 */
const char* animations_get_mode_name(animation_mode_t mode);

#endif // ANIMATIONS_H
```

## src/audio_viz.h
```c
/*
 * Audio Visualizer Module for LED Matrix
 * Captures audio from DMIC, performs FFT, and provides frequency band data
 */

#ifndef AUDIO_VIZ_H
#define AUDIO_VIZ_H

#include <stdint.h>
#include <stdbool.h>

// Audio configuration
#define AUDIO_SAMPLE_RATE      16000
#define AUDIO_FFT_SIZE         512
#define AUDIO_MEL_BANDS        40  // 40 bands for 40-column display (1 band per column)
#define AUDIO_LOW_BANDS        13  // First 13 bands = bass
#define AUDIO_MID_BANDS        14  // Middle 14 bands = mids
#define AUDIO_HIGH_BANDS       13  // Last 13 bands = highs

/**
 * @brief Initialize audio visualization system
 * @return 0 on success, negative error code on failure
 */
int audio_viz_init(void);

/**
 * @brief Start audio capture and processing
 * @return 0 on success, negative error code on failure
 */
int audio_viz_start(void);

/**
 * @brief Stop audio capture
 */
void audio_viz_stop(void);

/**
 * @brief Check if audio system is available
 * @return true if audio is working, false otherwise
 */
bool audio_viz_available(void);

/**
 * @brief Process next audio buffer (call periodically)
 * Non-blocking - returns immediately if no data available
 */
void audio_viz_process(void);

/**
 * @brief Get normalized band energy (0-255)
 * @param band Band index (0 to AUDIO_MEL_BANDS-1)
 * @return Energy level 0-255
 */
uint8_t audio_viz_get_band(int band);

/**
 * @brief Get bass energy (average of low bands)
 * @return Bass level 0-255
 */
uint8_t audio_viz_get_bass(void);

/**
 * @brief Get mid energy (average of mid bands)
 * @return Mid level 0-255
 */
uint8_t audio_viz_get_mids(void);

/**
 * @brief Get high energy (average of high bands)
 * @return High level 0-255
 */
uint8_t audio_viz_get_highs(void);

/**
 * @brief Get overall volume level
 * @return Volume level 0-255
 */
uint8_t audio_viz_get_volume(void);

/**
 * @brief Detect beat (sudden bass increase)
 * @return true if beat detected this frame
 */
bool audio_viz_beat_detected(void);

#endif // AUDIO_VIZ_H
```

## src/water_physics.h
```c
/*
 * Copyright (c) 2025 Water Physics Module
 * Inspired by The Powder Toy's liquid simulation
 *
 * SPDX-License-Identifier: Apache-2.0
 */

#ifndef WATER_PHYSICS_H
#define WATER_PHYSICS_H

#include <stdint.h>
#include <stdbool.h>

/**
 * @brief Initialize the water physics simulation
 * @param width Matrix width in pixels
 * @param height Matrix height in pixels
 * @param initial_fill_rows Number of rows to fill from bottom at start
 * @return 0 on success, negative error code on failure
 */
int water_physics_init(int width, int height, int initial_fill_rows);

/**
 * @brief Update tilt angles for the water physics simulation
 * @param tilt_x Roll angle in degrees (left/right tilt)
 * @param tilt_y Pitch angle in degrees (forward/backward tilt)
 */
void water_physics_set_tilt(float tilt_x, float tilt_y);

/**
 * @brief Update the water physics simulation by one step
 * 
 * Implements Powder-Toy style liquid physics:
 * - Velocity-based particle movement
 * - Gravity influences velocity
 * - Horizontal spreading when particles can't fall
 * - Stagnation detection for performance
 * - Collision dampening
 */
void water_physics_update(void);

/**
 * @brief Get the state of a specific cell in the water grid
 * @param x X coordinate
 * @param y Y coordinate
 * @return 1 if cell contains water, 0 if empty
 */
uint8_t water_physics_get_cell(int x, int y);

/**
 * @brief Reset the water simulation to initial state
 */
void water_physics_reset(void);

/**
 * @brief Clean up and deallocate water physics resources
 */
void water_physics_deinit(void);

#endif /* WATER_PHYSICS_H */
```
